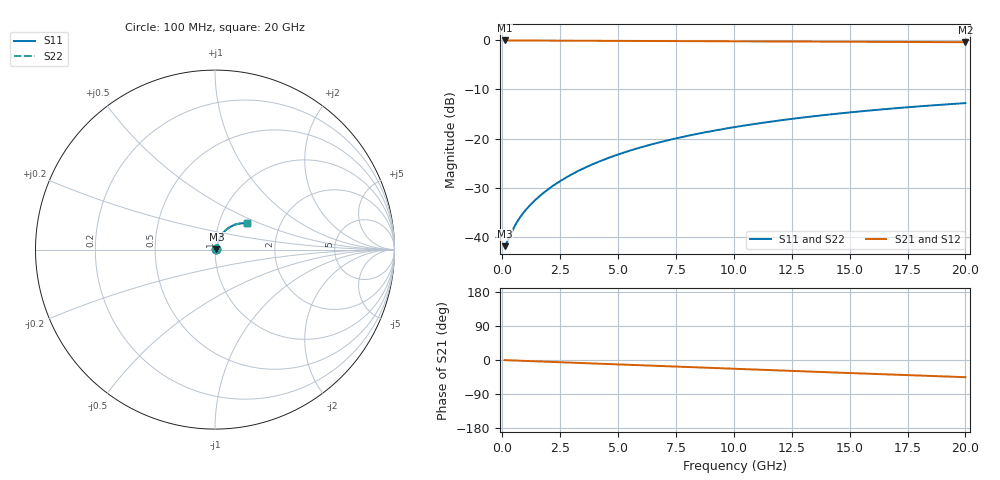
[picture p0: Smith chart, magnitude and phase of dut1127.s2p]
! Touchstone file exported from HFSS 2026.1.0
!  File:  C:/ffzhzh/LocalFiles/Ansys_Project_Files/temp_train_BSMRDL_1127_1783175216_51560.aedt
!  Generated:  10:28:05 PM Jul  4, 2026
!  Design:  BSMRDL
!  Project:  temp_train_BSMRDL_1127_1783175216_51560
! Variables:
!  h_bsmrdl = 2.21um
!  h_ox = 20um
!  h_rdl = 5um
!  h_sub = 80um
!  h_tmrdl = 5um
!  h_tsv = 80um
!  h_via = 3um
!  l_bsmrdl = 777.34um
!  l_sub = 1177.34um
!  l_tmrdl = 200um
!  m_sub = 200um
!  pitch = 23.33um
!  r_tsv = 6um
!  s_tmrdl = 10um
!  w_bsmrdl = 16.14um
!  w_sub = 500um
!  w_tmrdl = 12um
!  x_tsv_center1 = 206um
!  x_tsv_center2 = 999.48um
!  x_tsv_center3 = 1211.48um
!  x_tsv_center4 = 2004.96um
!  x_tsv_center5 = 2216.96um
!  x_tsv_center6 = 3010.44um
# GHz S MA R 50.000000
! Terminal data exported
! Port[1] = BSM_RDL1_1_T1
! Port[2] = BSM_RDL1_1_T2
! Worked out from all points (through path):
!   200 points, 100 MHz to 20 GHz, reference 50 ohm
!   highest |S21| = -0.07 dB at 100 MHz (marker M1); lowest = -0.4 dB at 20 GHz (marker M2)
!   group delay of S21, straight-line fit = 6.29 ps
!   lowest |S11| = -41.9 dB at 100 MHz (marker M3), VSWR 1.02, Z = 50.8 + j0.186 ohm
!   |S11| at or under -10 dB: start of sweep to end of sweep
!   |S22| runs from -41.9 to -12.8 dB; largest |S21 - S12| = 4e-15
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0.1  0.008064 13.1  0.9922 -0.3  0.9922 -0.3  0.008064 13.1
! Gamma 0 0 0 0
! Port Impedance 50 0 50 0
0.2  0.008833 24.2  0.992 -0.5  0.992 -0.5  0.008833 24.2
0.5  0.01244 42.8  0.991 -1.3  0.991 -1.3  0.01244 42.8
0.7  0.015 48.6  0.9904 -1.8  0.9904 -1.8  0.015 48.6
0.8  0.01624 50.7  0.9901 -2.0  0.9901 -2.0  0.01624 50.7
1  0.01868 54.1  0.9896 -2.5  0.9896 -2.5  0.01868 54.1
1.3  0.02227 57.9  0.989 -3.2  0.989 -3.2  0.02227 57.9
1.8  0.02829 62.2  0.9884 -4.3  0.9884 -4.3  0.02829 62.2
2.3  0.03446 64.8  0.9879 -5.5  0.9879 -5.5  0.03446 64.8
2.9  0.04201 66.7  0.9873 -6.9  0.9873 -6.9  0.04201 66.7
3.5  0.04966 67.6  0.9867 -8.2  0.9867 -8.2  0.04965 67.6
4.2  0.05863 67.9  0.9859 -9.9  0.9859 -9.9  0.05862 67.9
5  0.06888 67.6  0.9849 -11.7  0.9849 -11.7  0.06887 67.6
5.9  0.08033 66.7  0.9836 -13.8  0.9836 -13.8  0.08033 66.7
6.8  0.09165 65.5  0.9821 -15.9  0.9821 -15.9  0.09165 65.5
8.4  0.1113 63.0  0.9792 -19.6  0.9792 -19.6  0.1113 63.0
10.1  0.1315 59.8  0.9758 -23.4  0.9758 -23.4  0.1315 59.8
11.7  0.1496 56.7  0.9722 -27.1  0.9722 -27.1  0.1496 56.7
13.4  0.168 53.2  0.9682 -30.9  0.9682 -30.9  0.168 53.2
15  0.1843 49.9  0.9643 -34.4  0.9643 -34.4  0.1843 50.0
16.7  0.2006 46.4  0.9601 -38.2  0.9601 -38.2  0.2006 46.4
20  0.2291 39.6  0.9522 -45.3  0.9522 -45.3  0.2291 39.6
